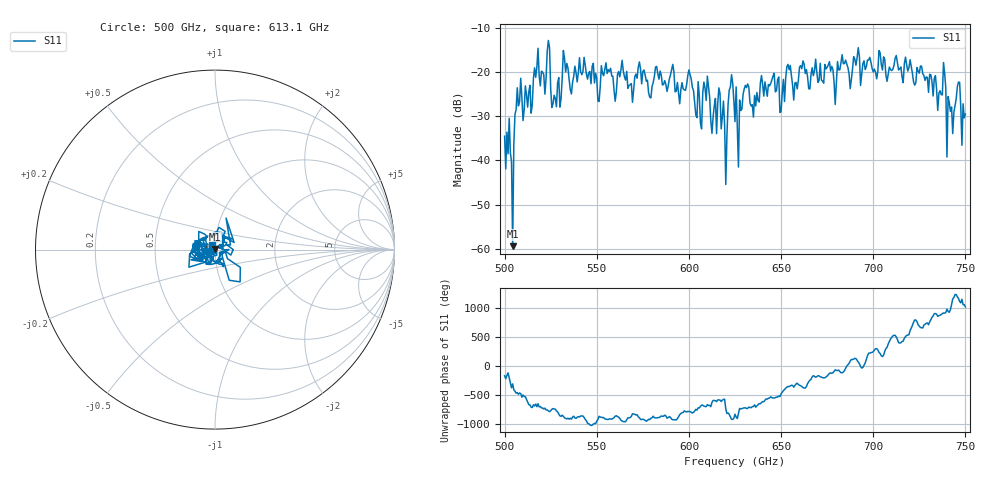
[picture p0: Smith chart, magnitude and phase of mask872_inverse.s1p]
!Created with skrf (http://scikit-rf.org).
# GHz S MA R 50.0
!freq magS11 angS11
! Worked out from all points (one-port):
!   401 points, 500 GHz to 750 GHz, reference 50 ohm
!   lowest |S11| = -59.4 dB at 504.4 GHz (marker M1), VSWR 1.00, Z = 50.1 + j0.0858 ohm
!   |S11| at or under -10 dB: start of sweep to end of sweep
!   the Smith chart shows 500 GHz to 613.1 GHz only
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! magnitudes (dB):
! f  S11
! 500 GHz  -34.5
! 504.4 GHz  -59.4
! 508.1 GHz  -26.7
! 513.8 GHz  -23.0
! 516.9 GHz  -21.2
! 523.8 GHz  -12.9
! 526.9 GHz  -25.3
! 531.2 GHz  -21.4
! 562.5 GHz  -21.1
! 579.4 GHz  -25.9
! 590.6 GHz  -19.5
! 593.8 GHz  -22.4
! 600.6 GHz  -20.6
! 605.6 GHz  -25.3
! 609.4 GHz  -26.4
! 612.5 GHz  -33.9
! 617.5 GHz  -32.9
! 619.4 GHz  -32.1
! 622.5 GHz  -23.3
! 625 GHz  -31.2
! 627.5 GHz  -26.3
! 631.2 GHz  -23.5
! 635 GHz  -30.2
! 656.2 GHz  -22.9
! 687.5 GHz  -23.8
! 690.6 GHz  -18.5
! 718.8 GHz  -19.8
! 750 GHz  -29.5
